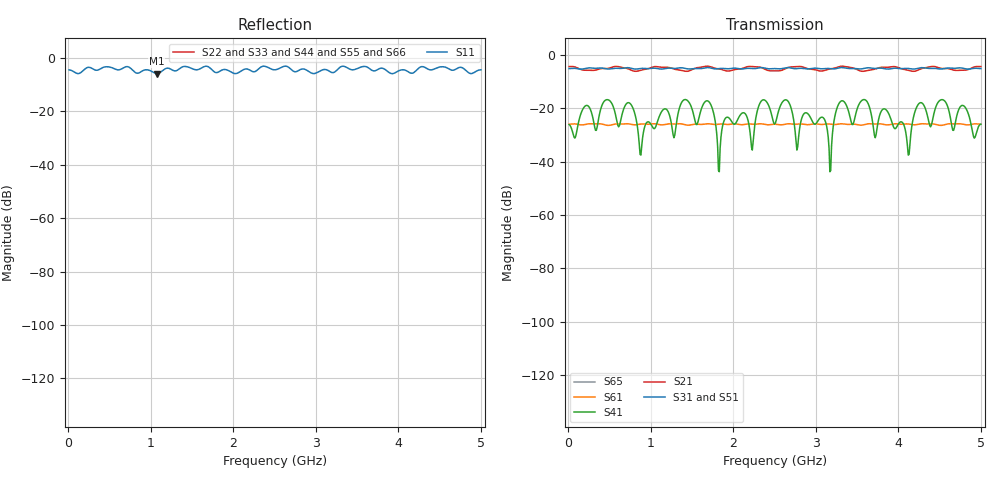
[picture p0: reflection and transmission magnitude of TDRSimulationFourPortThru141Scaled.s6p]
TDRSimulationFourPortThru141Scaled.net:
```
device T1 2 tline zc 60.0 td 5e-10
voltagesource VG1 1
device T2 2 tline zc 55.0 td 1e-09
device D9 2 voltageamplifier gain 1.0 zi 100000000.0 zo 40.0
device T10 2 tline zc 50.0 td 6e-10
device D1 2 voltageamplifier gain 1.0 zi 100000000.0 zo 60.0
device T12 2 tline zc 50.0 td 9e-10
device R3 1 R 50.0
device D15 3 directionalcoupler
device D16 3 directionalcoupler
device R4 1 R 50.0
device R9 1 R 50.0
device D22 3 directionalcoupler
device D23 3 directionalcoupler
device R10 1 R 50.0
device T5 2 tline zc 50.0 td 1e-10
device G1 1 ground
connect D16 1 T1 1
connect T1 2 T5 1
output D15 1
connect D15 1 T2 2
connect VG1 1 D9 1
connect T2 1 D9 2
connect D22 1 T10 1
connect T10 2 T5 2
output T12 2
connect T12 2 D23 1
connect D1 1 G1 1
connect T12 1 D1 2
output R3 1
connect R3 1 D15 3
connect D16 2 D15 2
output D16 3
connect D16 3 R4 1
output R9 1
connect R9 1 D22 3
connect D22 2 D23 2
output D23 3
connect D23 3 R10 1
```
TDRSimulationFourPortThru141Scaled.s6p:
# MHz MA S R 50.0
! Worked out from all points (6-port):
!   500 points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, 10 MHz to 5 GHz, reference 50 ohm
!   strongest paths, dB at 10 MHz, 1.26 GHz, 2.51 GHz, 3.76 GHz, 5 GHz:
!     S31: -5.2, -5.1, -5.2, -5.0, -5.2
!     S51: -5.2, -5.1, -5.2, -5.1, -5.2
!     S21: -4.4, -5.1, -6.0, -4.9, -4.4
!     S41: -26.1, -27.8, -25.6, -24.3, -26.0
!     S61: -26.0, -25.9, -26.0, -25.9, -26.0
!     S65: -, -, -, -, -
!   lowest |S11| = -5.9 dB at 1.07 GHz (marker M1), VSWR 3.07, Z = 113 - j62.8 ohm
!   |S11| at or under -10 dB: nowhere
